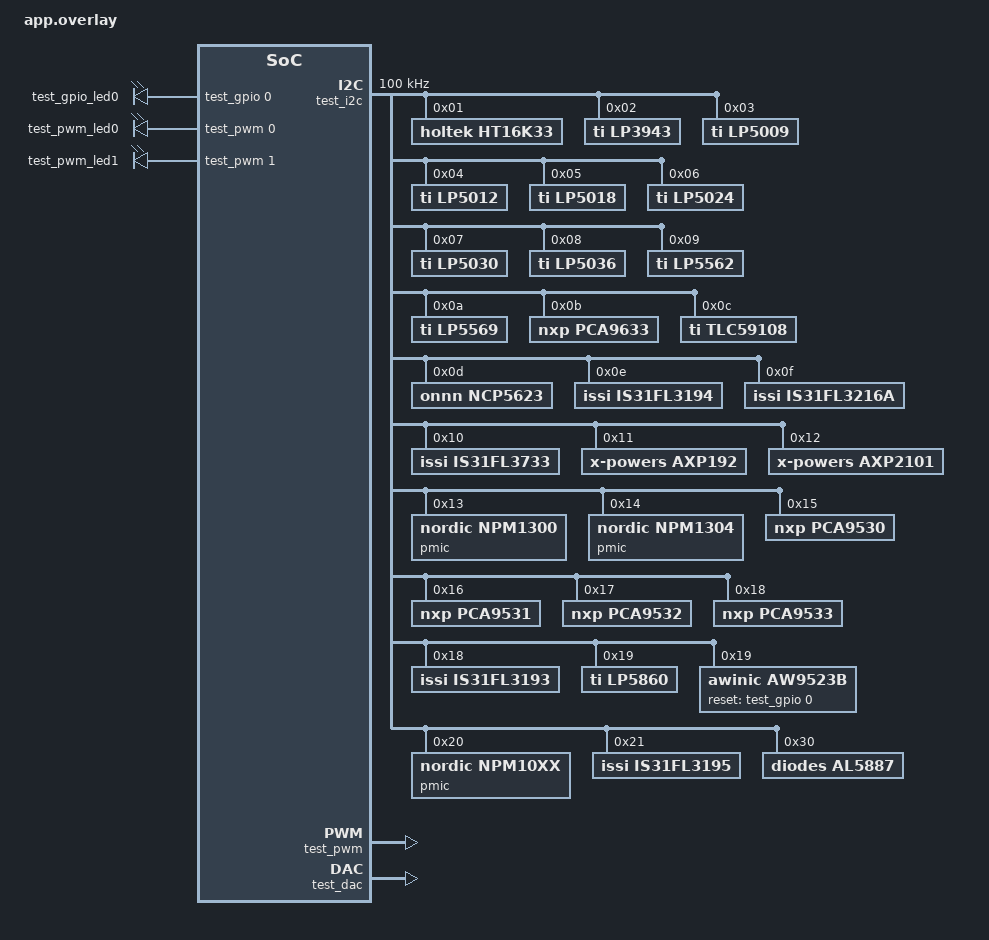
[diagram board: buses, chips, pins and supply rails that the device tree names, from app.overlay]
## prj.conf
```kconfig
CONFIG_TEST=y
CONFIG_TEST_USERSPACE=y
CONFIG_LED=y
CONFIG_PWM=y
```

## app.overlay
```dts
/*
 * Copyright (c) 2020, Linaro Ltd.
 *
 * SPDX-License-Identifier: Apache-2.0
 *
 * Application overlay for testing driver builds
 *
 * Names in this file should be chosen in a way that won't conflict
 * with real-world devicetree nodes, to allow these tests to run on
 * (and be extended to test) real hardware.
 */

/ {
	test {
		#address-cells = <1>;
		#size-cells = <1>;

		test_fake_leds: fake-leds {
			compatible = "zephyr,fake-leds";

			fake_led: fake-led {
				label = "Fake LED";
			};
		};

		test_dac_leds {
			compatible = "dac-leds";

			test_dac_led0: test_dac_led_0 {
				dac-dev = <&test_dac>;
				channel = <0>;
				resolution = <16>;
				voltage-min-brightness-mv = <123>;
				voltage-max-brightness-mv = <1234>;
				voltage-max-dac-mv = <3456>;
				output-buffer;
			};
		};

		test_gpio_leds {
			compatible = "gpio-leds";

			test_gpio_led0: test_gpio_led_0 {
				gpios = <&test_gpio 0 0>;
			};
		};

		test_pwm_leds {
			compatible = "pwm-leds";
			status = "okay";

			test_pwm_led0: test_pwm_led_0 {
				pwms = <&test_pwm 0 0 0>;
			};

			test_pwm_led1: test_pwm_led_1 {
				pwms = <&test_pwm 1 0 0>;
			};
		};

		multi-led {
			compatible = "leds-group-multicolor";
			leds = <&test_pwm_led0>, <&test_pwm_led1>;
		};

		native_linux_leds {
			compatible = "zephyr,native-linux-leds";

			led_0 {
				path = "dev::a";
			};

			led_1 {
				path = "dev::b";
			};
		};

		test_i2c: i2c@11112222 {
			compatible = "vnd,i2c";
			reg = <0x11112222 0x1000>;
			#address-cells = <1>;
			#size-cells = <0>;
			clock-frequency = <100000>;
			status = "okay";

			ht16k33@1 {
				compatible = "holtek,ht16k33";
				reg = <0x1>;
				#address-cells = <1>;
				#size-cells = <0>;
			};

			lp3943@2 {
				compatible = "ti,lp3943";
				reg = <0x2>;
			};

			lp5009@3 {
				compatible = "ti,lp5009";
				reg = <0x3>;
			};

			lp5012@4 {
				compatible = "ti,lp5012";
				reg = <0x4>;
			};

			lp5018@5 {
				compatible = "ti,lp5018";
				reg = <0x5>;
			};

			lp5024@6 {
				compatible = "ti,lp5024";
				reg = <0x6>;
			};

			lp5030@7 {
				compatible = "ti,lp5030";
				reg = <0x7>;
			};

			lp5036@8 {
				compatible = "ti,lp5036";
				reg = <0x8>;
			};

			lp5562@9 {
				compatible = "ti,lp5562";
				reg = <0x9>;
			};

			lp5569@a {
				compatible = "ti,lp5569";
				reg = <0xa>;
			};

			pca9633@b {
				compatible = "nxp,pca9633";
				reg = <0xb>;
			};

			tlc59108@c {
				compatible = "ti,tlc59108";
				reg = <0xc>;
			};

			ncp5623@d {
				compatible = "onnn,ncp5623";
				reg = <0xd>;
			};

			is31fl3194@e {
				compatible = "issi,is31fl3194";
				reg = <0xe>;

				led_rgb {
					label = "led_rgb";
					color-mapping = <0>, <1>, <2>;
					current-limit = <10>;
				};
			};

			is31fl3216a@f {
				compatible = "issi,is31fl3216a";
				reg = <0xf>;
			};

			is31fl3733@10 {
				compatible = "issi,is31fl3733";
				reg = <0x10>;
			};

			axp192@11 {
				compatible = "x-powers,axp192";
				reg = <0x11>;
				status = "okay";

				pwr_led {
					compatible = "x-powers,axp192-led";
					x-powers,mode = "by-reg";
					status = "okay";
				};
			};

			axp2101@12 {
				compatible = "x-powers,axp2101";
				reg = <0x12>;
				status = "okay";

				pwr_led {
					compatible = "x-powers,axp2101-led";
					x-powers,mode = "by-reg";
					status = "okay";
				};
			};

			pmic@13 {
				compatible = "nordic,npm1300";
				reg = <0x13>;

				leds {
					compatible = "nordic,npm1300-led";
					nordic,led0-mode = "error";
					nordic,led1-mode = "charging";
					nordic,led2-mode = "host";
				};
			};

			pmic@14 {
				compatible = "nordic,npm1304";
				reg = <0x14>;

				leds {
					compatible = "nordic,npm1304-led";
					nordic,led0-mode = "error";
					nordic,led1-mode = "charging";
					nordic,led2-mode = "host";
				};
			};

			pca9530@15 {
				compatible = "nxp,pca9530";
				reg = <0x15>;
			};

			pca9531@16 {
				compatible = "nxp,pca9531";
				reg = <0x16>;
			};

			pca9532@17 {
				compatible = "nxp,pca9532";
				reg = <0x17>;
			};

			pca9533@18 {
				compatible = "nxp,pca9533";
				reg = <0x18>;
			};

			is31fl3193@18 {
				compatible = "issi,is31fl3193";
				reg = <0x18>;

				led_rgb {
					label = "led_rgb";
					color-mapping = <0>, <1>, <2>;
					current-limit = <10>;
				};
			};

			lp5860@19 {
				compatible = "ti,lp5860";
				reg = <0x19>;
			};

			aw9523b@19 {
				compatible = "awinic,aw9523b";
				reg = <0x19>;
				reset-gpios = <&test_gpio 0 0>;
				status = "okay";

				leds {
					compatible = "awinic,aw9523b-led";
					current-microamp = <9250>;
					status = "okay";

					led0 {
						port = <1>;
						pin = <0>;
					};

					led1 {
						port = <1>;
						pin = <1>;
					};
				};
			};

			pmic@20 {
				compatible = "nordic,npm10xx";
				reg = <0x20>;

				leds {
					compatible = "nordic,npm10xx-led";

					led0 {
						index = <2>;
					};

					led1 {
						index = <0>;
						led-mode = "charge";
					};
				};
			};

			is31fl3195@21 {
				compatible = "issi,is31fl3195";
				reg = <0x21>;

				led_rgb {
					label = "led_rgb";
					color-mapping = <0>, <1>, <2>;
					current-limit = <20>;
				};
			};

			al5887@30 {
				compatible = "diodes,al5887";
				reg = <0x30>;
			};
		};

		test_pwm: pwm@12341234 {
			compatible = "vnd,pwm";
			reg = <0x12341234 0x1000>;
			#pwm-cells = <3>;
			status = "okay";
		};

		test_dac: dac@dac0dac0 {
			compatible = "vnd,dac";
			reg = <0xdac0dac0 0x1000>;
			#io-channel-cells = <1>;
			status = "okay";
		};

		test_gpio: gpio@deadbeef {
			compatible = "vnd,gpio";
			reg = <0xdeadbeef 0x1000>;
			gpio-controller;
			#gpio-cells = <0x2>;
			status = "okay";
		};
	};
};
```

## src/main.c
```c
/*
 * Copyright (c) 2012-2014 Wind River Systems, Inc.
 *
 * SPDX-License-Identifier: Apache-2.0
 */

#ifdef CONFIG_LED_FAKE
#include <zephyr/drivers/led/led_fake.h>
DEFINE_FFF_GLOBALS;
#endif /* CONFIG_LED_FAKE */

int main(void)
{
	return 0;
}
```
